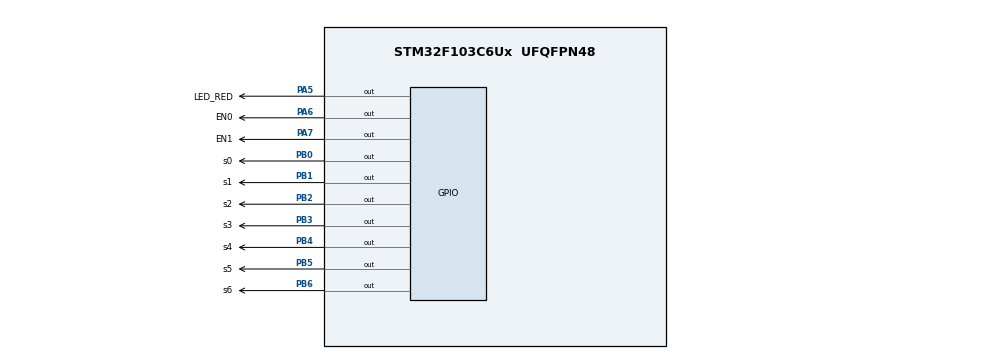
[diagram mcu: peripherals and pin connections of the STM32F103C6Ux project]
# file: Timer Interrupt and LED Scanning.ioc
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Mcu.Family=STM32F1
Mcu.Name=STM32F103C6Ux
Mcu.Package=UFQFPN48
NVIC.PriorityGroup=NVIC_PRIORITYGROUP_4
NVIC.TIM2_IRQn=true\:0\:0\:false\:false\:true\:true\:true
PA5.GPIO_Label=LED_RED
PA5.Signal=GPIO_Output
PA6.GPIO_Label=EN0
PA6.Signal=GPIO_Output
PA7.GPIO_Label=EN1
PA7.Signal=GPIO_Output
PB0.GPIO_Label=s0
PB0.Signal=GPIO_Output
PB1.GPIO_Label=s1
PB1.Signal=GPIO_Output
PB2.GPIO_Label=s2
PB2.Signal=GPIO_Output
PB3.GPIO_Label=s3
PB3.Signal=GPIO_Output
PB4.GPIO_Label=s4
PB4.Signal=GPIO_Output
PB5.GPIO_Label=s5
PB5.Signal=GPIO_Output
PB6.GPIO_Label=s6
PB6.Signal=GPIO_Output
ProjectManager.HeapSize=0x200
ProjectManager.StackSize=0x400
ProjectManager.TargetToolchain=STM32CubeIDE
RCC.APB1Freq_Value=8000000
RCC.APB2Freq_Value=8000000
TIM2.Period=9
TIM2.Prescaler=7999
VP_SYS_VS_ND.Mode=No_Debug
VP_TIM2_VS_ClockSourceINT.Mode=Internal
board=custom

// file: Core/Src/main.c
/* USER CODE BEGIN Header */
/**
  ******************************************************************************
  * @file           : main.c
  * @brief          : Main program body
  ******************************************************************************
  * @attention
  *
  * <h2><center>&copy; Copyright (c) 2026 STMicroelectronics.
  * All rights reserved.</center></h2>
  *
  * This software component is licensed by ST under BSD 3-Clause license,
  * the "License"; You may not use this file except in compliance with the
  * License. You may obtain a copy of the License at:
  *                        opensource.org/licenses/BSD-3-Clause
  *
  ******************************************************************************
  */
/* USER CODE END Header */
#include "main.h"

TIM_HandleTypeDef htim2;

void SystemClock_Config(void);
static void MX_GPIO_Init(void);
static void MX_TIM2_Init(void);

/* USER CODE BEGIN 0 */
void display7SEG(int num) {
    if (num < 0 || num > 9) return;

    uint8_t segMatrix[10][7] = {
        {0, 0, 0, 0, 0, 0, 1}, // Số 0
        {1, 0, 0, 1, 1, 1, 1}, // Số 1
        {0, 0, 1, 0, 0, 1, 0}, // Số 2
        {0, 0, 0, 0, 1, 1, 0}, // Số 3
        {1, 0, 0, 1, 1, 0, 0}, // Số 4
        {0, 1, 0, 0, 1, 0, 0}, // Số 5
        {0, 1, 0, 0, 0, 0, 0}, // Số 6
        {0, 0, 0, 1, 1, 1, 1}, // Số 7
        {0, 0, 0, 0, 0, 0, 0}, // Số 8
        {0, 0, 0, 0, 1, 0, 0}  // Số 9
    };

    HAL_GPIO_WritePin(s0_GPIO_Port, s0_Pin, segMatrix[num][0]);
    HAL_GPIO_WritePin(s1_GPIO_Port, s1_Pin, segMatrix[num][1]);
    HAL_GPIO_WritePin(s2_GPIO_Port, s2_Pin, segMatrix[num][2]);
    HAL_GPIO_WritePin(s3_GPIO_Port, s3_Pin, segMatrix[num][3]);
    HAL_GPIO_WritePin(s4_GPIO_Port, s4_Pin, segMatrix[num][4]);
    HAL_GPIO_WritePin(s5_GPIO_Port, s5_Pin, segMatrix[num][5]);
    HAL_GPIO_WritePin(s6_GPIO_Port, s6_Pin, segMatrix[num][6]);
}

/* USER CODE END 0 */

int main(void)
{

  /* MCU Configuration--------------------------------------------------------*/

  /* Reset of all peripherals, Initializes the Flash interface and the Systick. */
  HAL_Init();

  /* Configure the system clock */
  SystemClock_Config();

  /* Initialize all configured peripherals */
  MX_GPIO_Init();
  MX_TIM2_Init();
  /* USER CODE BEGIN 2 */
  HAL_TIM_Base_Start_IT (& htim2 ) ;

  /* USER CODE END 2 */

  /* Infinite loop */
  while (1)
  {

  }
}

void SystemClock_Config(void)
{
  RCC_OscInitTypeDef RCC_OscInitStruct = {0};
  RCC_ClkInitTypeDef RCC_ClkInitStruct = {0};

  /** Initializes the RCC Oscillators according to the specified parameters
  * in the RCC_OscInitTypeDef structure.
  */
  RCC_OscInitStruct.OscillatorType = RCC_OSCILLATORTYPE_HSI;
  RCC_OscInitStruct.HSIState = RCC_HSI_ON;
  RCC_OscInitStruct.HSICalibrationValue = RCC_HSICALIBRATION_DEFAULT;
  RCC_OscInitStruct.PLL.PLLState = RCC_PLL_NONE;
  if (HAL_RCC_OscConfig(&RCC_OscInitStruct) != HAL_OK)
  {
    Error_Handler();
  }
  /** Initializes the CPU, AHB and APB buses clocks
  */
  RCC_ClkInitStruct.ClockType = RCC_CLOCKTYPE_HCLK|RCC_CLOCKTYPE_SYSCLK
                              |RCC_CLOCKTYPE_PCLK1|RCC_CLOCKTYPE_PCLK2;
  RCC_ClkInitStruct.SYSCLKSource = RCC_SYSCLKSOURCE_HSI;
  RCC_ClkInitStruct.AHBCLKDivider = RCC_SYSCLK_DIV1;
  RCC_ClkInitStruct.APB1CLKDivider = RCC_HCLK_DIV1;
  RCC_ClkInitStruct.APB2CLKDivider = RCC_HCLK_DIV1;

  if (HAL_RCC_ClockConfig(&RCC_ClkInitStruct, FLASH_LATENCY_0) != HAL_OK)
  {
    Error_Handler();
  }
}

static void MX_TIM2_Init(void)
{

  TIM_ClockConfigTypeDef sClockSourceConfig = {0};
  TIM_MasterConfigTypeDef sMasterConfig = {0};

  htim2.Instance = TIM2;
  htim2.Init.Prescaler = 7999;
  htim2.Init.CounterMode = TIM_COUNTERMODE_UP;
  htim2.Init.Period = 9;
  htim2.Init.ClockDivision = TIM_CLOCKDIVISION_DIV1;
  htim2.Init.AutoReloadPreload = TIM_AUTORELOAD_PRELOAD_DISABLE;
  if (HAL_TIM_Base_Init(&htim2) != HAL_OK)
  {
    Error_Handler();
  }
  sClockSourceConfig.ClockSource = TIM_CLOCKSOURCE_INTERNAL;
  if (HAL_TIM_ConfigClockSource(&htim2, &sClockSourceConfig) != HAL_OK)
  {
    Error_Handler();
  }
  sMasterConfig.MasterOutputTrigger = TIM_TRGO_RESET;
  sMasterConfig.MasterSlaveMode = TIM_MASTERSLAVEMODE_DISABLE;
  if (HAL_TIMEx_MasterConfigSynchronization(&htim2, &sMasterConfig) != HAL_OK)
  {
    Error_Handler();
  }

}

static void MX_GPIO_Init(void)
{
  GPIO_InitTypeDef GPIO_InitStruct = {0};

  /* GPIO Ports Clock Enable */
  __HAL_RCC_GPIOA_CLK_ENABLE();
  __HAL_RCC_GPIOB_CLK_ENABLE();

  /*Configure GPIO pin Output Level */
  HAL_GPIO_WritePin(GPIOA, LED_RED_Pin|EN0_Pin|EN1_Pin, GPIO_PIN_RESET);

  /*Configure GPIO pin Output Level */
  HAL_GPIO_WritePin(GPIOB, s0_Pin|s1_Pin|s2_Pin|s3_Pin
                          |s4_Pin|s5_Pin|s6_Pin, GPIO_PIN_RESET);

  /*Configure GPIO pins : LED_RED_Pin EN0_Pin EN1_Pin */
  GPIO_InitStruct.Pin = LED_RED_Pin|EN0_Pin|EN1_Pin;
  GPIO_InitStruct.Mode = GPIO_MODE_OUTPUT_PP;
  GPIO_InitStruct.Pull = GPIO_NOPULL;
  GPIO_InitStruct.Speed = GPIO_SPEED_FREQ_LOW;
  HAL_GPIO_Init(GPIOA, &GPIO_InitStruct);

  /*Configure GPIO pins : s0_Pin s1_Pin s2_Pin s3_Pin
                           s4_Pin s5_Pin s6_Pin */
  GPIO_InitStruct.Pin = s0_Pin|s1_Pin|s2_Pin|s3_Pin
                          |s4_Pin|s5_Pin|s6_Pin;
  GPIO_InitStruct.Mode = GPIO_MODE_OUTPUT_PP;
  GPIO_InitStruct.Pull = GPIO_NOPULL;
  GPIO_InitStruct.Speed = GPIO_SPEED_FREQ_LOW;
  HAL_GPIO_Init(GPIOB, &GPIO_InitStruct);

}

/* USER CODE BEGIN 4 */
int timer_counter = 50;
int led_state = 0;

void HAL_TIM_PeriodElapsedCallback(TIM_HandleTypeDef *htim) {
    if (htim->Instance == TIM2) {
        timer_counter--;

        if (timer_counter <= 0) {
            timer_counter = 50;

            if (led_state == 0) {

                HAL_GPIO_WritePin(GPIOA, EN0_Pin, GPIO_PIN_RESET);
                HAL_GPIO_WritePin(GPIOA, EN1_Pin, GPIO_PIN_SET);
                display7SEG(1);
                led_state = 1;
            } else {

                HAL_GPIO_WritePin(GPIOA, EN0_Pin, GPIO_PIN_SET);
                HAL_GPIO_WritePin(GPIOA, EN1_Pin, GPIO_PIN_RESET);
                display7SEG(2);
                led_state = 0;
            }
        }
    }
}

/* USER CODE END 4 */

void Error_Handler(void)
{
  __disable_irq();
  while (1)
  {
  }
}

/************************ (C) COPYRIGHT STMicroelectronics *****END OF FILE****/
